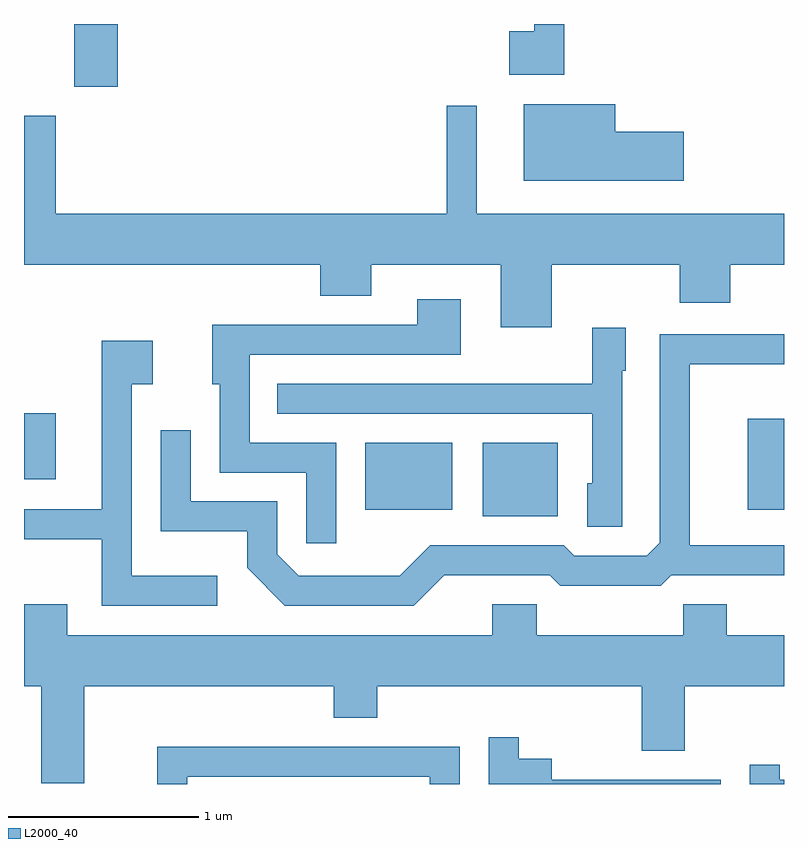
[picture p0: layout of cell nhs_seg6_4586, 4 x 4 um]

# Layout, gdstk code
import gdstk
lib = gdstk.Library(unit=1e-6, precision=1e-09)
def R(c, l, rs):  # rectangles x0, y0, x1, y1
    for r in rs: c.add(gdstk.rectangle(r[:2], r[2:], *l))
def P(c, l, *ps):  # polygons
    for p in ps: c.add(gdstk.Polygon(p, *l))
L2000_40 = (2000, 40)

nhs_seg6_4586 = lib.new_cell('nhs_seg6_4586')
R(nhs_seg6_4586, L2000_40, [(328.026,1577.571,328.419,1577.959), (327.406,1577.606,327.864,1577.959), (329.421,1577.606,329.611,1578.084), (325.611,1577.766,325.779,1578.114), (325.876,1579.831,326.104,1580.162)])
P(nhs_seg6_4586, L2000_40, [(328.454,1580.162),(328.296,1580.162),(328.296,1580.124),(328.166,1580.124),(328.166,1579.896),(328.454,1579.896)],
  [(329.084,1579.594),(328.724,1579.594),(328.724,1579.739),(328.241,1579.739),(328.241,1579.336),(329.084,1579.336)],
  [(328.389,1578.896),(329.061,1578.896),(329.061,1578.696),(329.329,1578.696),(329.329,1578.896),(329.611,1578.896),(329.611,1579.164),(327.994,1579.164),(327.994,1579.733),(327.836,1579.733),(327.836,1579.164),(325.779,1579.164),(325.779,1579.679),(325.611,1579.679),(325.611,1578.896),(327.171,1578.896),(327.171,1578.731),(327.439,1578.731),(327.439,1578.896),(328.121,1578.896),(328.121,1578.566),(328.389,1578.566)],
  [(327.254,1577.959),(326.799,1577.959),(326.799,1578.421),(327.909,1578.421),(327.909,1578.714),(327.681,1578.714),(327.681,1578.579),(326.601,1578.579),(326.601,1578.266),(326.641,1578.266),(326.641,1577.801),(327.096,1577.801),(327.096,1577.428),(327.254,1577.428)],
  [(328.759,1578.336),(328.779,1578.336),(328.779,1578.564),(328.601,1578.564),(328.601,1578.269),(326.943,1578.269),(326.943,1578.111),(328.601,1578.111),(328.601,1577.744),(328.576,1577.744),(328.576,1577.516),(328.759,1577.516)],
  [(327.822,1577.261),(328.379,1577.261),(328.434,1577.206),(328.962,1577.206),(329.017,1577.261),(329.611,1577.261),(329.611,1577.419),(329.114,1577.419),(329.114,1578.371),(329.611,1578.371),(329.611,1578.529),(328.956,1578.529),(328.956,1577.432),(328.889,1577.364),(328.507,1577.364),(328.452,1577.419),(327.749,1577.419),(327.589,1577.259),(327.057,1577.259),(326.944,1577.372),(326.944,1577.649),(326.489,1577.649),(326.489,1578.023),(326.331,1578.023),(326.331,1577.491),(326.786,1577.491),(326.786,1577.299),(326.984,1577.101),(327.662,1577.101)],
  [(326.628,1577.259),(326.179,1577.259),(326.179,1578.266),(326.289,1578.266),(326.289,1578.494),(326.021,1578.494),(326.021,1577.609),(325.611,1577.609),(325.611,1577.451),(326.021,1577.451),(326.021,1577.101),(326.628,1577.101)],
  [(328.861,1576.336),(329.089,1576.336),(329.089,1576.676),(329.611,1576.676),(329.611,1576.944),(329.309,1576.944),(329.309,1577.109),(329.081,1577.109),(329.081,1576.944),(328.309,1576.944),(328.309,1577.109),(328.076,1577.109),(328.076,1576.944),(325.839,1576.944),(325.839,1577.109),(325.611,1577.109),(325.611,1576.676),(325.701,1576.676),(325.701,1576.166),(325.929,1576.166),(325.929,1576.676),(327.241,1576.676),(327.241,1576.511),(327.469,1576.511),(327.469,1576.676),(328.861,1576.676)],
  [(329.279,1576.184),(328.389,1576.184),(328.389,1576.294),(328.214,1576.294),(328.214,1576.408),(328.056,1576.408),(328.056,1576.162),(329.279,1576.162)],
  [(326.469,1576.201),(327.746,1576.201),(327.746,1576.162),(327.904,1576.162),(327.904,1576.359),(326.311,1576.359),(326.311,1576.162),(326.469,1576.162)],
  [(329.611,1576.184),(329.589,1576.184),(329.589,1576.263),(329.431,1576.263),(329.431,1576.162),(329.611,1576.162)])

lib.write_gds('nhs_seg6_4586.gds')
